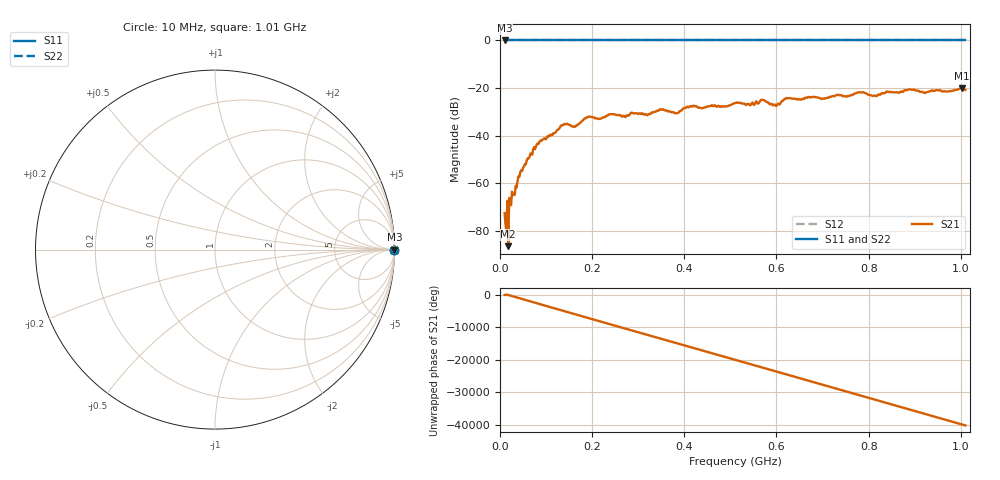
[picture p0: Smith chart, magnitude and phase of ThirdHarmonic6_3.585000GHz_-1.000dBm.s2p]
! 8/17/2025 11:54:59 AM
! C:\ANRITSUVNA\TEMP\TEMP.S2P
! CHANNEL.1
! TR.MEASUREMENT
! RAW.DATA
! RF.CORRECTION.OFF
! AVERAGING.OFF
! IF.BANDWIDTH: 5KHZ
! SWEEPTYPE:  FREQ.SWEEP(Linear)
! Reference Plane Port Info
! PORT:  PORT1  PORT2
! DISTANCE:  0  m  0  m
! TIME:  0  s  0  s
! PHASE.OFFSET:  0  deg.  0  deg.
! LOSS:  0  dB  0  dB
! REF.LOSS:  0  dB  0  dB
! REF.FREQ:  0  Hz  0  Hz
! Power Info
! POWER:  -20  dBm  -20  dBm
! EFF.POWER:  -20  dBm  -20  dBm
! SOURCE.ATTEN:  0  dB  0  dB
! TEST.ATTEN:  0  dB  0  dB
# GHZ S RI R 50.0
! FREQ.GHZ  S11RE  S11IM  S21RE  S21IM  S12RE  S12IM  S22RE  S22IM
!; PortSelection: Port_12
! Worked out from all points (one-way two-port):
!   501 points, 10 MHz to 1.01 GHz, reference 50 ohm
!   highest |S21| = -20.17 dB at 1.002 GHz (marker M1); lowest = -86.6 dB at 18 MHz (marker M2)
!   lowest |S11| = 0.0 dB at 10 MHz (marker M3)
!   |S11| at or under -10 dB: nowhere
!   |S22| runs from 0.0 to 0.0 dB; largest |S21 - S12| = 1.1
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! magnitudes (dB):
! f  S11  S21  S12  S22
! 10 MHz  0.0  -72.6  0.0  0.0
! 14 MHz  0.0  -80.4  0.0  0.0
! 18 MHz  0.0  -86.6  0.0  0.0
! 24 MHz  0.0  -69.3  0.0  0.0
! 32 MHz  0.0  -65.0  0.0  0.0
! 42 MHz  0.0  -57.4  0.0  0.0
! 78 MHz  0.0  -44.6  0.0  0.0
! 136 MHz  0.0  -35.7  0.0  0.0
! 162 MHz  0.0  -36.4  0.0  0.0
! 178 MHz  0.0  -34.0  0.0  0.0
! 192 MHz  0.0  -32.1  0.0  0.0
! 344 MHz  0.0  -29.5  0.0  0.0
! 382 MHz  0.0  -30.6  0.0  0.0
! 416 MHz  0.0  -27.9  0.0  0.0
! 510 MHz  0.0  -26.3  0.0  0.0
! 570 MHz  0.0  -25.0  0.0  0.0
! 596 MHz  0.0  -26.9  0.0  0.0
! 622 MHz  0.0  -24.2  0.0  0.0
! 678 MHz  0.0  -23.9  0.0  0.0
! 844 MHz  0.0  -21.7  0.0  0.0
! 1.002 GHz  0.0  -20.2  0.0  0.0
! 1.01 GHz  0.0  -20.8  0.0  0.0
